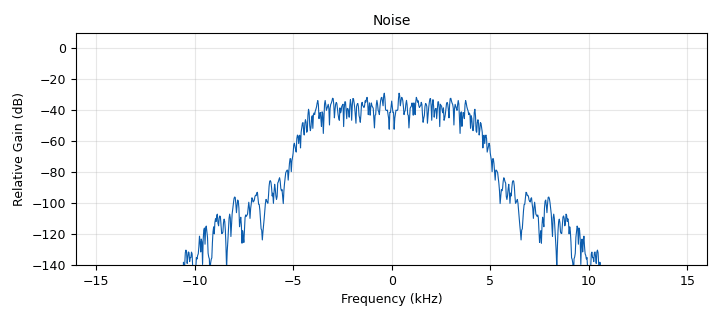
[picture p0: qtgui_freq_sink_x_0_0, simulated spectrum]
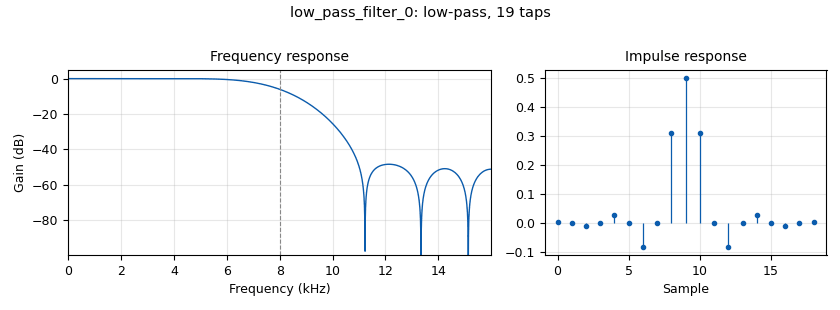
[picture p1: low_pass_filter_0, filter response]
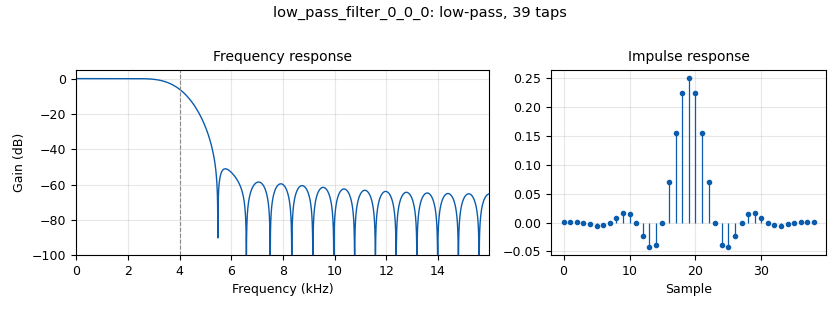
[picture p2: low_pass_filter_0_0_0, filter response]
options:
  parameters:
    author: jachall
    generate_options: qt_gui
    id: lowPassFilterExample
    output_language: python
    title: Low Pass Filter Example
  states: {}

blocks:
- name: frequency
  id: variable_qtgui_range
  parameters:
    label: Frequency Slider
    outputmsgname: value
    showports: 'False'
    start: '-samp_rate/2'
    step: '1'
    stop: samp_rate/2
    value: '0'
  states: {}
- name: samp_rate
  id: variable
  parameters:
    value: '32000'
  states: {}
- name: analog_fastnoise_source_x_0
  id: analog_fastnoise_source_x
  parameters:
    amp: '1'
    noise_type: analog.GR_GAUSSIAN
    samples: '8192'
    seed: '0'
    type: float
  states: {}
- name: analog_sig_source_x_0
  id: analog_sig_source_x
  parameters:
    amp: '1'
    freq: frequency
    offset: '0'
    phase: '0'
    samp_rate: samp_rate
    type: float
    waveform: analog.GR_COS_WAVE
  states: {}
- name: analog_sig_source_x_0_0
  id: analog_sig_source_x
  parameters:
    amp: '1'
    freq: frequency
    offset: '0'
    phase: '0'
    samp_rate: samp_rate
    type: float
    waveform: analog.GR_COS_WAVE
  states: {}
- name: blocks_multiply_xx_0
  id: blocks_multiply_xx
  parameters:
    type: float
  states: {}
- name: blocks_throttle_0
  id: blocks_throttle
  parameters:
    samples_per_second: samp_rate
    type: float
  states: {}
- name: blocks_throttle_0_0
  id: blocks_throttle
  parameters:
    samples_per_second: samp_rate
    type: float
  states: {}
- name: low_pass_filter_0
  id: low_pass_filter
  parameters:
    cutoff_freq: samp_rate/4
    decim: '1'
    gain: '1'
    samp_rate: samp_rate
    type: fir_filter_fff
    width: samp_rate/8
    win: window.WIN_HAMMING
  states: {}
- name: low_pass_filter_0_0
  id: low_pass_filter
  parameters:
    cutoff_freq: samp_rate/4
    decim: '1'
    gain: '1'
    samp_rate: samp_rate
    type: fir_filter_fff
    width: samp_rate/8
    win: window.WIN_HAMMING
  states: {}
- name: low_pass_filter_0_0_0
  id: low_pass_filter
  parameters:
    cutoff_freq: samp_rate/8
    decim: '1'
    gain: '1'
    samp_rate: samp_rate
    type: fir_filter_fff
    width: samp_rate/16
    win: window.WIN_HAMMING
  states: {}
- name: qtgui_freq_sink_x_0
  id: qtgui_freq_sink_x
  parameters:
    bw: samp_rate
    fc: '0'
    fftsize: '1024'
    name: Sinusoid
    type: float
  states: {}
- name: qtgui_freq_sink_x_0_0
  id: qtgui_freq_sink_x
  parameters:
    bw: samp_rate
    fc: '0'
    fftsize: '1024'
    name: Noise
    type: float
  states: {}

connections:
- [analog_fastnoise_source_x_0, '0', low_pass_filter_0_0_0, '0']
- [analog_sig_source_x_0, '0', low_pass_filter_0, '0']
- [analog_sig_source_x_0_0, '0', blocks_multiply_xx_0, '1']
- [blocks_multiply_xx_0, '0', low_pass_filter_0_0, '0']
- [blocks_throttle_0, '0', qtgui_freq_sink_x_0, '0']
- [blocks_throttle_0_0, '0', qtgui_freq_sink_x_0_0, '0']
- [low_pass_filter_0, '0', blocks_throttle_0, '0']
- [low_pass_filter_0_0, '0', blocks_throttle_0_0, '0']
- [low_pass_filter_0_0_0, '0', blocks_multiply_xx_0, '0']

metadata:
  file_format: 1
  grc_version: 3.10.4.0
